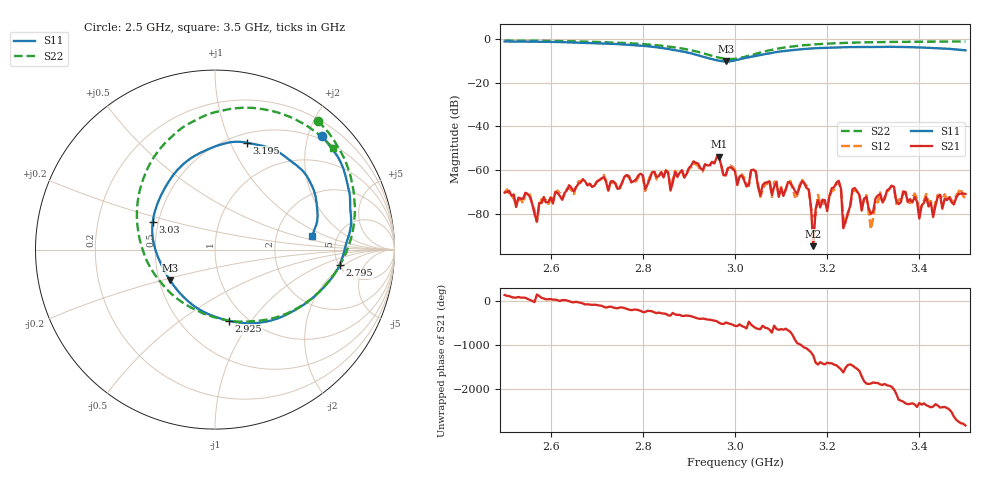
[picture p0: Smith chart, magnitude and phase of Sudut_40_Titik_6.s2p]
# Hz S RI R 50
! CMT, C1220, 16058040, 17.2.0/1
! Date: 15/08/2018 10:15:28
! Data: Format (Calibration Info)
! Freq  S11: Re/Im (F2)  S21: Re/Im (F2)  S12: Re/Im (F2)  S22: Re/Im (F2)
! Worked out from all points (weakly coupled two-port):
!   201 points, 2.5 GHz to 3.5 GHz, reference 50 ohm
!   highest |S21| = -53.90 dB at 2.965 GHz (marker M1); lowest = -94.8 dB at 3.17 GHz (marker M2)
!   lowest |S11| = -10.4 dB at 2.98 GHz (marker M3), VSWR 1.87, Z = 28.5 - j10.8 ohm
!   |S11| at or under -10 dB: 2.965 GHz to 2.997 GHz (32.32 MHz wide, 1.08 % of centre)
!   |S22| runs from -9.2 to -0.7 dB; largest |S21 - S12| = 0.00017
!   S11 on the Smith chart (normalised r, x): 2.5 GHz: 0.43, +2.24; 2.795 GHz: 5.06, -1.71; 2.925 GHz: 0.83, -0.79; 3.03 GHz: 0.47, +0.17; 3.195 GHz: 0.59, +1.15; 3.5 GHz: 3.24, +0.71
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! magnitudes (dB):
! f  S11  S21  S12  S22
! 2.5 GHz  -1.2  -70.3  -70.2  -0.7
! 2.57 GHz  -1.3  -83.5  -83.8  -0.9
! 2.67 GHz  -1.8  -64.3  -64.1  -1.2
! 2.795 GHz  -3.1  -61.6  -62.1  -2.3
! 2.835 GHz  -4.0  -62.7  -62.5  -3.0
! 2.925 GHz  -7.9  -59.2  -59.9  -6.2
! 2.965 GHz  -10.0  -53.9  -53.5  -8.6
! 2.98 GHz  -10.4  -62.2  -62.6  -9.1
! 3 GHz  -9.9  -60.5  -60.1  -9.2
! 3.03 GHz  -8.4  -66.6  -67.2  -7.8
! 3.145 GHz  -4.7  -65.1  -64.1  -3.0
! 3.17 GHz  -4.3  -94.8  -81.2  -2.6
! 3.195 GHz  -4.1  -73.7  -76.7  -2.3
! 3.225 GHz  -3.9  -64.9  -65.5  -2.0
! 3.235 GHz  -3.9  -86.6  -81.7  -1.9
! 3.26 GHz  -3.8  -68.2  -69.5  -1.7
! 3.295 GHz  -3.7  -80.0  -87.0  -1.6
! 3.335 GHz  -3.7  -68.6  -68.5  -1.4
! 3.4 GHz  -3.9  -82.2  -80.0  -1.3
! 3.415 GHz  -4.1  -72.3  -70.9  -1.3
! 3.43 GHz  -4.2  -81.4  -80.4  -1.3
! 3.5 GHz  -5.3  -70.9  -72.9  -1.3
